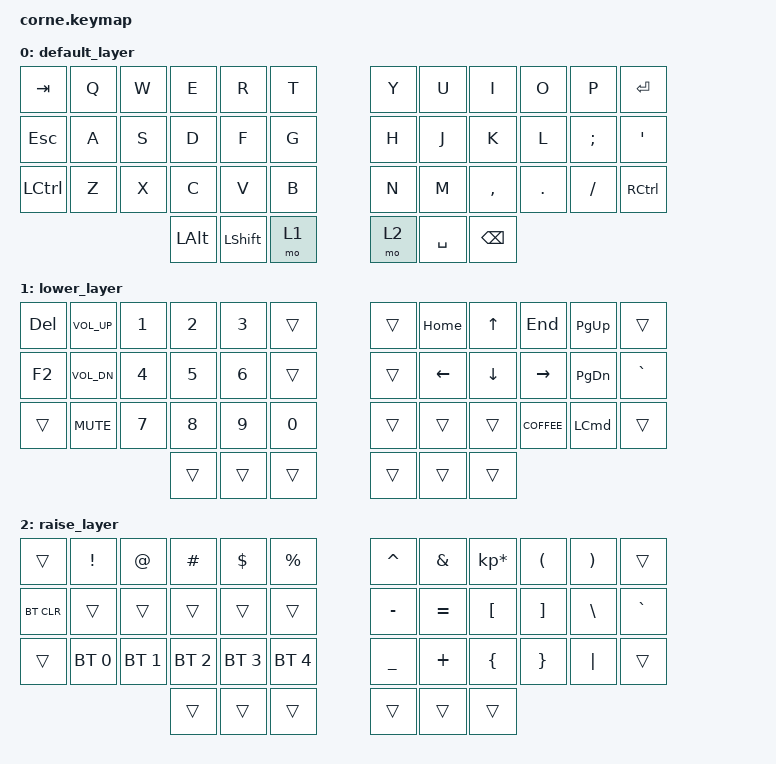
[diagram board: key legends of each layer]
/*
 * Copyright (c) 2020 The ZMK Contributors
 *
 * SPDX-License-Identifier: MIT
 */

#include <behaviors.dtsi>
#include <dt-bindings/zmk/bt.h>
#include <dt-bindings/zmk/keys.h>

/ {
    keymap {
        compatible = "zmk,keymap";

        default_layer {
            // -----------------------------------------------------------------------------------------
            // |  TAB |  Q  |  W  |  E  |  R  |  T  |   |  Y  |  U   |  I  |  O  |  P  | BKSP |
            // | CTRL |  A  |  S  |  D  |  F  |  G  |   |  H  |  J   |  K  |  L  |  ;  |  '   |
            // | SHFT |  Z  |  X  |  C  |  V  |  B  |   |  N  |  M   |  ,  |  .  |  /  | ESC  |
            //                    | GUI | LWR | SPC |   | ENT | RSE  | ALT |

            bindings = <
&kp TAB           &kp Q  &kp W  &kp E         &kp R           &kp T    &kp Y  &kp U      &kp I          &kp O    &kp P     &kp ENTER
&kp ESCAPE        &kp A  &kp S  &kp D         &kp F           &kp G    &kp H  &kp J      &kp K          &kp L    &kp SEMI  &kp SQT
&kp LEFT_CONTROL  &kp Z  &kp X  &kp C         &kp V           &kp B    &kp N  &kp M      &kp COMMA      &kp DOT  &kp FSLH  &kp RIGHT_CONTROL
                                &kp LEFT_ALT  &kp LEFT_SHIFT  &mo 1    &mo 2  &kp SPACE  &kp BACKSPACE
            >;
        };

        lower_layer {
            // -----------------------------------------------------------------------------------------
            // |  TAB |  1  |  2  |  3  |  4  |  5  |   |  6  |  7  |  8  |  9  |  0  | BKSP |
            // | BTCLR| BT1 | BT2 | BT3 | BT4 | BT5 |   | LFT | DWN |  UP | RGT |     |      |
            // | SHFT |     |     |     |     |     |   |     |     |     |     |     |      |
            //                    | GUI |     | SPC |   | ENT |     | ALT |

            bindings = <
&kp DELETE  &kp C_VOLUME_UP  &kp N1        &kp N2        &kp NUMBER_3  &trans          &trans  &kp HOME        &kp UP_ARROW    &kp END          &kp PAGE_UP       &trans
&kp F2      &kp C_VOL_DN     &kp N4        &kp N5        &kp NUMBER_6  &trans          &trans  &kp LEFT_ARROW  &kp DOWN_ARROW  &kp RIGHT_ARROW  &kp PAGE_DOWN     &kp GRAVE
&trans      &kp C_MUTE       &kp NUMBER_7  &kp NUMBER_8  &kp NUMBER_9  &kp NUMBER_0    &trans  &trans          &trans          &kp K_COFFEE     &kp LEFT_COMMAND  &trans
                                           &trans        &trans        &trans          &trans  &trans          &trans
            >;
        };

        raise_layer {
            // -----------------------------------------------------------------------------------------
            // |  TAB |  !  |  @  |  #  |  $  |  %  |   |  ^  |  &  |  *  |  (  |  )  | BKSP |
            // | CTRL |     |     |     |     |     |   |  -  |  =  |  [  |  ]  |  \  |  `   |
            // | SHFT |     |     |     |     |     |   |  _  |  +  |  {  |  }  | "|" |  ~   |
            //                    | GUI |     | SPC |   | ENT |     | ALT |

            bindings = <
&trans      &kp EXCL      &kp AT        &kp HASH      &kp DLLR      &kp PRCNT       &kp CARET  &kp AMPS   &kp KP_MULTIPLY  &kp LPAR  &kp RPAR  &trans
&bt BT_CLR  &trans        &trans        &trans        &trans        &trans          &kp MINUS  &kp EQUAL  &kp LBKT         &kp RBKT  &kp BSLH  &kp GRAVE
&trans      &bt BT_SEL 0  &bt BT_SEL 1  &bt BT_SEL 2  &bt BT_SEL 3  &bt BT_SEL 4    &kp UNDER  &kp PLUS   &kp LBRC         &kp RBRC  &kp PIPE  &trans
                                        &trans        &trans        &trans          &trans     &trans     &trans
            >;
        };
    };
};
